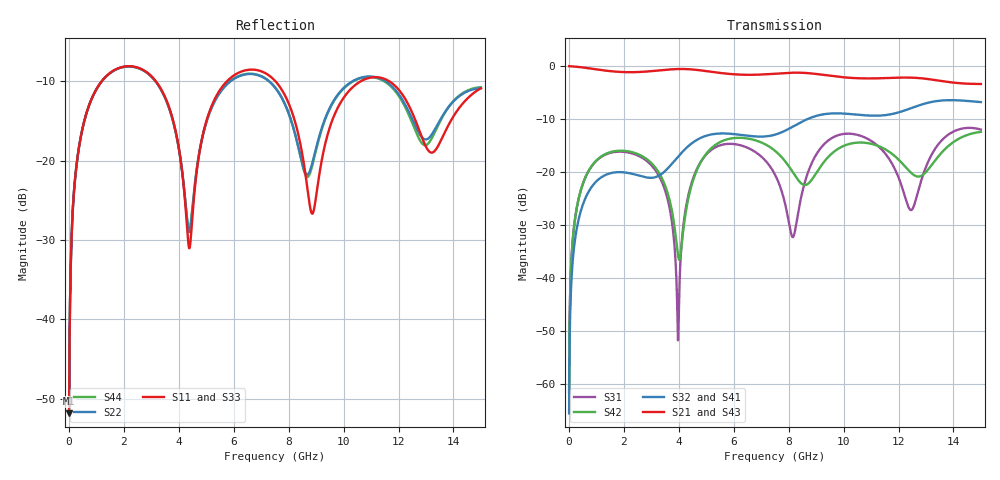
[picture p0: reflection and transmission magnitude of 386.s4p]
! Created with skrf 1.8.0 (http://scikit-rf.org).
# GHz S RI R 50.0
!freq ReS11 ImS11 ReS12 ImS12 ReS13 ImS13
! ReS14 ImS14
! ReS21 ImS21 ReS22 ImS22 ReS23 ImS23
! ReS24 ImS24
! ReS31 ImS31 ReS32 ImS32 ReS33 ImS33
! ReS34 ImS34
! ReS41 ImS41 ReS42 ImS42 ReS43 ImS43
! ReS44 ImS44
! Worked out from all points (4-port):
!   2499 points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, 5 MHz to 15 GHz, reference 50 ohm
!   strongest paths, dB at 5 MHz, 3.476 GHz, 7.19 GHz, 11.1 GHz, 15 GHz:
!     S21: 0.0, -0.7, -1.5, -2.3, -3.4
!     S43: 0.0, -0.7, -1.5, -2.3, -3.4
!     S32: -65.6, -19.9, -13.3, -9.4, -6.8
!     S41: -65.6, -20.0, -13.3, -9.4, -6.8
!     S42: -61.6, -22.3, -14.9, -14.8, -12.4
!     S31: -61.6, -23.1, -18.1, -14.5, -12.0
!   lowest |S11| = -51.8 dB at 5 MHz (marker M1), VSWR 1.01, Z = 50.2 + j0.156 ohm
!   |S11| at or under -10 dB: 3.164 GHz to 5.754 GHz (2.59 GHz wide, 58.1 % of centre); 7.517 GHz to 10.63 GHz (3.112 GHz wide, 34.3 % of centre); 11.66 GHz to end of sweep (the widest 3 of 4)
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0.005  0.00204 0.00155  0.9979 -0.00398  0.000104 0.000821  -0.000101 -0.000514
       0.9979 -0.00398  0.00204 0.00155  -0.000101 -0.000514  0.000105 0.000821
       0.000104 0.000821  -0.000101 -0.000514  0.00204 0.00155  0.9979 -0.00398
       -0.000101 -0.000514  0.000105 0.000821  0.9979 -0.00398  0.00204 0.00155
1.269279  0.2782 0.174  0.5344 -0.7366  0.1284 0.0636  -0.0917 -0.0039
          0.5344 -0.7366  0.2763 0.1754  -0.0918 -0.00379  0.1336 0.0563
          0.1284 0.0636  -0.0918 -0.00379  0.2781 0.1741  0.5344 -0.7366
          -0.0917 -0.0039  0.1336 0.0563  0.5344 -0.7366  0.2763 0.1753
3.970404  0.0599 -0.1142  -0.8698 -0.3493  -0.00244 -0.000776  -0.0483 0.1306
          -0.8698 -0.3493  0.067 -0.109  -0.047 0.1311  -0.014 -0.00841
          -0.00244 -0.000776  -0.047 0.1311  0.0594 -0.1136  -0.87 -0.3493
          -0.0483 0.1306  -0.014 -0.00841  -0.87 -0.3493  0.0669 -0.1083
5.002084  0.1127 0.1367  -0.8275 0.3447  0.0901 0.1153  0.1114 0.1891
          -0.8275 0.3447  0.1143 0.1311  0.1134 0.1883  0.1067 0.1037
          0.0901 0.1153  0.1134 0.1883  0.112 0.1377  -0.8274 0.3446
          0.1114 0.1891  0.1067 0.1037  -0.8274 0.3446  0.1158 0.1317
8.809921  0.0452 -0.0167  0.8449 0.1164  0.056 0.1019  0.04 -0.3232
          0.8449 0.1164  0.0851 0.029  0.0329 -0.3237  -0.0481 0.0669
          0.056 0.1019  0.0329 -0.3237  0.0475 -0.0192  0.8448 0.1186
          0.04 -0.3232  -0.0481 0.0669  0.8448 0.1186  0.0823 0.027
11.59233  0.3117 -0.0774  -0.1235 -0.7611  0.0783 -0.1167  -0.3315 0.0932
          -0.1235 -0.7611  0.2999 -0.0817  -0.3299 0.1041  0.0607 -0.1471
          0.0783 -0.1167  -0.3299 0.1041  0.3062 -0.0704  -0.1219 -0.7634
          -0.3315 0.0932  0.0607 -0.1471  -0.1219 -0.7634  0.2944 -0.0853
15  0.2828 0.0412  -0.4005 0.5465  0.2512 0.0013  0.4117 0.1948
    -0.4005 0.5465  0.2855 -0.00773  0.4192 0.1816  0.2332 -0.0526
    0.2512 0.0013  0.4192 0.1816  0.2824 0.041  -0.4041 0.5433
    0.4117 0.1948  0.2332 -0.0526  -0.4041 0.5433  0.2899 -0.000638
